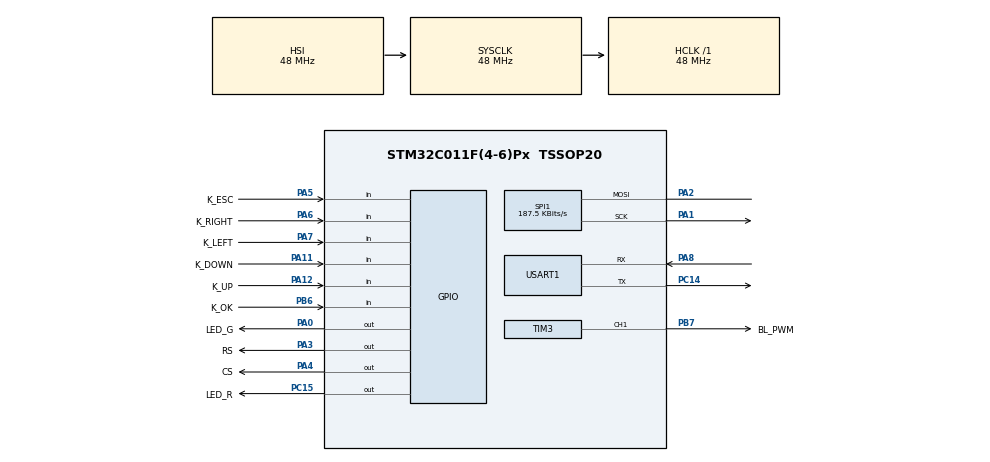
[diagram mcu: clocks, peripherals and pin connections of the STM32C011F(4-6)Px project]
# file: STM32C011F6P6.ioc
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Mcu.Family=STM32C0
Mcu.Name=STM32C011F(4-6)Px
Mcu.Package=TSSOP20
NVIC.TIM1_BRK_UP_TRG_COM_IRQn=true\:3\:0\:false\:false\:true\:false\:true\:true
NVIC.TimeBase=TIM1_BRK_UP_TRG_COM_IRQn
NVIC.TimeBaseIP=TIM1
NVIC.USART1_IRQn=true\:0\:0\:false\:false\:true\:true\:true\:true
PA0.GPIO_Label=LED_G
PA0.Signal=GPIO_Output
PA1.GPIO_Speed=GPIO_SPEED_FREQ_VERY_HIGH
PA1.Mode=Simplex_Bidirectional_Master
PA1.PinState=GPIO_PIN_SET
PA1.Signal=SPI1_SCK
PA11\ [PA9].GPIO_Label=K_DOWN
PA11\ [PA9].GPIO_PuPd=GPIO_PULLUP
PA11\ [PA9].Signal=GPIO_Input
PA12\ [PA10].GPIO_Label=K_UP
PA12\ [PA10].GPIO_PuPd=GPIO_PULLUP
PA12\ [PA10].Signal=GPIO_Input
PA13.Mode=Serial_Wire
PA13.Signal=DEBUG_SWDIO
PA14-BOOT0.Mode=Serial_Wire
PA14-BOOT0.Signal=DEBUG_SWCLK
PA2.GPIO_Speed=GPIO_SPEED_FREQ_VERY_HIGH
PA2.Mode=Simplex_Bidirectional_Master
PA2.PinState=GPIO_PIN_SET
PA2.Signal=SPI1_MOSI
PA3.GPIO_Label=RS
PA3.GPIO_Speed=GPIO_SPEED_FREQ_VERY_HIGH
PA3.PinState=GPIO_PIN_SET
PA3.Signal=GPIO_Output
PA4.GPIO_Label=CS
PA4.GPIO_Speed=GPIO_SPEED_FREQ_VERY_HIGH
PA4.PinState=GPIO_PIN_SET
PA4.Signal=GPIO_Output
PA5.GPIO_Label=K_ESC
PA5.GPIO_PuPd=GPIO_PULLUP
PA5.Signal=GPIO_Input
PA6.GPIO_Label=K_RIGHT
PA6.GPIO_PuPd=GPIO_PULLUP
PA6.Signal=GPIO_Input
PA7.GPIO_Label=K_LEFT
PA7.GPIO_PuPd=GPIO_PULLUP
PA7.Signal=GPIO_Input
PA8.Mode=Asynchronous
PA8.Signal=USART1_RX
PB6.GPIO_Label=K_OK
PB6.GPIO_PuPd=GPIO_PULLUP
PB6.Signal=GPIO_Input
PB7.GPIO_Label=BL_PWM
PB7.Signal=S_TIM3_CH1
PC14-OSCX_IN\ (PC14).Mode=Asynchronous
PC14-OSCX_IN\ (PC14).Signal=USART1_TX
PC15-OSCX_OUT\ (PC15).GPIO_Label=LED_R
PC15-OSCX_OUT\ (PC15).Signal=GPIO_Output
ProjectManager.HeapSize=0x200
ProjectManager.StackSize=0x400
ProjectManager.TargetToolchain=STM32CubeIDE
RCC.ADCFreq_Value=48000000
RCC.AHBFreq_Value=48000000
RCC.CortexFreq_Value=48000000
RCC.EXTERNAL_CLOCK_VALUE=12288000
RCC.HCLKFreq_Value=48000000
RCC.HSE_VALUE=8000000
RCC.HSISYSCLKDivider=RCC_HSI_DIV1
RCC.HSI_VALUE=48000000
RCC.LSE_VALUE=32768
RCC.SYSCLKFreq_VALUE=48000000
SH.S_TIM3_CH1.0=TIM3_CH1,PWM Generation1 CH1
SPI1.BaudRatePrescaler=SPI_BAUDRATEPRESCALER_256
SPI1.CLKPhase=SPI_PHASE_2EDGE
SPI1.CLKPolarity=SPI_POLARITY_HIGH
SPI1.CalculateBaudRate=187.5 KBits/s
SPI1.Direction=SPI_DIRECTION_1LINE
SPI1.Mode=SPI_MODE_MASTER
SPI1.VirtualType=VM_MASTER
TIM3.Channel-PWM\ Generation1\ CH1=TIM_CHANNEL_1
TIM3.Period=100-1
TIM3.Prescaler=4800-1
USART1.VirtualMode-Asynchronous=VM_ASYNC
VP_SYS_VS_tim1.Mode=TIM1
board=custom

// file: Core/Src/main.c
/* USER CODE BEGIN Header */
/**
  ******************************************************************************
  * @file           : main.c
  * @brief          : Main program body
  ******************************************************************************
  * @attention
  *
  * Copyright (c) 2023 STMicroelectronics.
  * All rights reserved.
  *
  * This software is licensed under terms that can be found in the LICENSE file
  * in the root directory of this software component.
  * If no LICENSE file comes with this software, it is provided AS-IS.
  *
  ******************************************************************************
  */
/* USER CODE END Header */
#include "main.h"

/* USER CODE BEGIN Includes */
#include "RW1063.h"
#include "ExHardware.h"
/* USER CODE END Includes */

/* USER CODE BEGIN PTD */
extern uint8_t pucByte;
extern int ReceiveCompleteFlag;
extern uint8_t TxIndex;
/* USER CODE END PTD */

/* USER CODE BEGIN PD */
uint8_t UR_MSG0[16]    ="BUTTON RIGHT    ";
uint8_t UR_MSG1[16]    ="BUTTON LEFT     ";
uint8_t UR_MSG2[16]    ="BUTTON DOWN     ";
uint8_t UR_MSG3[16]    ="BUTTON UP       ";
uint8_t UR_MSG4[16]    ="BUTTON OK       ";
uint8_t UR_MSG5[16]    ="BUTTON ESC      ";
/* USER CODE END PD */

/* USER CODE BEGIN PM */
sPhysicalButtonAttribute_t ButtonState[ 6 ];
/* USER CODE END PM */

SPI_HandleTypeDef hspi1;

TIM_HandleTypeDef htim3;

UART_HandleTypeDef huart1;

/* USER CODE BEGIN PV */
uint8_t data[ 255 ];
/* USER CODE END PV */

void SystemClock_Config(void);
static void MX_GPIO_Init(void);
static void MX_SPI1_Init(void);
static void MX_TIM3_Init(void);
static void MX_USART1_UART_Init(void);
/* USER CODE BEGIN PFP */
void ButtonSET_Init(void);
/* USER CODE END PFP */

/* USER CODE BEGIN 0 */
void ButtonSET_Init(void)
{
	ButtonState[0].Port = K_RIGHT_GPIO_Port;
	ButtonState[0].Pin = K_RIGHT_Pin;

	ButtonState[1].Port = K_LEFT_GPIO_Port;
	ButtonState[1].Pin = K_LEFT_Pin;

	ButtonState[2].Port = K_DOWN_GPIO_Port;
	ButtonState[2].Pin = K_DOWN_Pin;

	ButtonState[3].Port = K_UP_GPIO_Port;
	ButtonState[3].Pin = K_UP_Pin;

	ButtonState[4].Port = K_OK_GPIO_Port;
	ButtonState[4].Pin = K_OK_Pin;

	ButtonState[5].Port = K_ESC_GPIO_Port;
	ButtonState[5].Pin = K_ESC_Pin;

}
/* USER CODE END 0 */

int main(void)
{

  /* MCU Configuration--------------------------------------------------------*/

  /* Reset of all peripherals, Initializes the Flash interface and the Systick. */
  HAL_Init();

  /* Configure the system clock */
  SystemClock_Config();

  /* Initialize all configured peripherals */
  MX_GPIO_Init();
  MX_SPI1_Init();
  MX_TIM3_Init();
  MX_USART1_UART_Init();
  /* USER CODE BEGIN 2 */

//  HAL_TIM_PWM_Start( &htim3, TIM_CHANNEL_1 );

  HAL_UART_Receive_IT(&huart1, &pucByte, 1);

  RW1063_init( &hspi1,
				CS_GPIO_Port, CS_Pin,
				RS_GPIO_Port, RS_Pin );

  Backlight_Control( BL_ON );
  Set_Backlight_Duty( 100 );

  ButtonSET_Init();
  /* USER CODE END 2 */

  /* Infinite loop */
  /* USER CODE BEGIN WHILE */
  while (1)
  {
		if(ReceiveCompleteFlag == 1)
		{
		  RW1063_WrCmd(0x08);//Display off
		  HAL_Delay(1);
		  RW1063_WrCmd(0x06);//Entry mode set
		  HAL_Delay(10);
		  RW1063_WrCmd(0x01);//CLEAR DISPLAY
		  HAL_Delay(1);
		  RW1063_WrCmd(0x0C);//DISPLAY ON,Cursor OFF,Cursor Blink OFF
		  RW1063_WrCmd(LINE_ONE);
		  RW1063_writeString(TxIndex-1,&data[0]);
		  ReceiveCompleteFlag = 0;
		  TxIndex = 0;
		  memset(data, 0, 256);
		}

//		if( HAL_GPIO_ReadPin( K_UP_Pin, K_UP_GPIO_Port ) == GPIO_PIN_RESET )
//		{
//								  RW1063_WrCmd(0x01);//CLEAR DISPLAY
//								  HAL_Delay(1);
//								  RW1063_WrCmd(LINE_ONE);
//								  RW1063_writeString(16,UR_MSG3);
//		}

		for( uint8_t counter = 0 ; counter <= 5 ; counter++ )
		{
			if( HAL_GPIO_ReadPin( ButtonState[counter].Port, ButtonState[counter].Pin ) == GPIO_PIN_RESET )
			{
				if(counter == 0)
				{
					  RW1063_WrCmd(0x01);//CLEAR DISPLAY
					  HAL_Delay(1);
					  RW1063_WrCmd(LINE_ONE);
					  RW1063_writeString(16,UR_MSG0);
				}
				else if(counter == 1)
				{
					  RW1063_WrCmd(0x01);//CLEAR DISPLAY
					  HAL_Delay(1);
					  RW1063_WrCmd(LINE_ONE);
					  RW1063_writeString(16,UR_MSG1);
				}
				else if(counter == 2)
				{
					  RW1063_WrCmd(0x01);//CLEAR DISPLAY
					  HAL_Delay(1);
					  RW1063_WrCmd(LINE_ONE);
					  RW1063_writeString(16,UR_MSG2);
				}
				else if(counter == 3)
				{
					  RW1063_WrCmd(0x01);//CLEAR DISPLAY
					  HAL_Delay(1);
					  RW1063_WrCmd(LINE_ONE);
					  RW1063_writeString(16,UR_MSG3);
				}
				else if(counter == 4)
				{
					  RW1063_WrCmd(0x01);//CLEAR DISPLAY
					  HAL_Delay(1);
					  RW1063_WrCmd(LINE_ONE);
					  RW1063_writeString(16,UR_MSG4);
				}
				else if(counter == 5)
				{
					  RW1063_WrCmd(0x01);//CLEAR DISPLAY
					  HAL_Delay(1);
					  RW1063_WrCmd(LINE_ONE);
					  RW1063_writeString(16,UR_MSG5);
				}
			}
		}

    /* USER CODE END WHILE */

  }
}

void SystemClock_Config(void)
{
  RCC_OscInitTypeDef RCC_OscInitStruct = {0};
  RCC_ClkInitTypeDef RCC_ClkInitStruct = {0};

  /** Initializes the RCC Oscillators according to the specified parameters
  * in the RCC_OscInitTypeDef structure.
  */
  RCC_OscInitStruct.OscillatorType = RCC_OSCILLATORTYPE_HSI;
  RCC_OscInitStruct.HSIState = RCC_HSI_ON;
  RCC_OscInitStruct.HSIDiv = RCC_HSI_DIV1;
  RCC_OscInitStruct.HSICalibrationValue = RCC_HSICALIBRATION_DEFAULT;
  if (HAL_RCC_OscConfig(&RCC_OscInitStruct) != HAL_OK)
  {
    Error_Handler();
  }

  /** Initializes the CPU, AHB and APB buses clocks
  */
  RCC_ClkInitStruct.ClockType = RCC_CLOCKTYPE_HCLK|RCC_CLOCKTYPE_SYSCLK
                              |RCC_CLOCKTYPE_PCLK1;
  RCC_ClkInitStruct.SYSCLKSource = RCC_SYSCLKSOURCE_HSI;
  RCC_ClkInitStruct.SYSCLKDivider = RCC_SYSCLK_DIV1;
  RCC_ClkInitStruct.AHBCLKDivider = RCC_HCLK_DIV1;
  RCC_ClkInitStruct.APB1CLKDivider = RCC_APB1_DIV1;

  if (HAL_RCC_ClockConfig(&RCC_ClkInitStruct, FLASH_LATENCY_1) != HAL_OK)
  {
    Error_Handler();
  }
}

static void MX_SPI1_Init(void)
{

  /* SPI1 parameter configuration*/
  hspi1.Instance = SPI1;
  hspi1.Init.Mode = SPI_MODE_MASTER;
  hspi1.Init.Direction = SPI_DIRECTION_1LINE;
  hspi1.Init.DataSize = SPI_DATASIZE_8BIT;
  hspi1.Init.CLKPolarity = SPI_POLARITY_HIGH;
  hspi1.Init.CLKPhase = SPI_PHASE_2EDGE;
  hspi1.Init.NSS = SPI_NSS_SOFT;
  hspi1.Init.BaudRatePrescaler = SPI_BAUDRATEPRESCALER_256;
  hspi1.Init.FirstBit = SPI_FIRSTBIT_MSB;
  hspi1.Init.TIMode = SPI_TIMODE_DISABLE;
  hspi1.Init.CRCCalculation = SPI_CRCCALCULATION_DISABLE;
  hspi1.Init.CRCPolynomial = 7;
  hspi1.Init.CRCLength = SPI_CRC_LENGTH_DATASIZE;
  hspi1.Init.NSSPMode = SPI_NSS_PULSE_DISABLE;
  if (HAL_SPI_Init(&hspi1) != HAL_OK)
  {
    Error_Handler();
  }

}

static void MX_TIM3_Init(void)
{

  TIM_MasterConfigTypeDef sMasterConfig = {0};
  TIM_OC_InitTypeDef sConfigOC = {0};

  htim3.Instance = TIM3;
  htim3.Init.Prescaler = 4800-1;
  htim3.Init.CounterMode = TIM_COUNTERMODE_UP;
  htim3.Init.Period = 100-1;
  htim3.Init.ClockDivision = TIM_CLOCKDIVISION_DIV1;
  htim3.Init.AutoReloadPreload = TIM_AUTORELOAD_PRELOAD_DISABLE;
  if (HAL_TIM_PWM_Init(&htim3) != HAL_OK)
  {
    Error_Handler();
  }
  sMasterConfig.MasterOutputTrigger = TIM_TRGO_RESET;
  sMasterConfig.MasterSlaveMode = TIM_MASTERSLAVEMODE_DISABLE;
  if (HAL_TIMEx_MasterConfigSynchronization(&htim3, &sMasterConfig) != HAL_OK)
  {
    Error_Handler();
  }
  sConfigOC.OCMode = TIM_OCMODE_PWM1;
  sConfigOC.Pulse = 0;
  sConfigOC.OCPolarity = TIM_OCPOLARITY_HIGH;
  sConfigOC.OCFastMode = TIM_OCFAST_DISABLE;
  if (HAL_TIM_PWM_ConfigChannel(&htim3, &sConfigOC, TIM_CHANNEL_1) != HAL_OK)
  {
    Error_Handler();
  }
  HAL_TIM_MspPostInit(&htim3);

}

static void MX_USART1_UART_Init(void)
{

  huart1.Instance = USART1;
  huart1.Init.BaudRate = 115200;
  huart1.Init.WordLength = UART_WORDLENGTH_8B;
  huart1.Init.StopBits = UART_STOPBITS_1;
  huart1.Init.Parity = UART_PARITY_NONE;
  huart1.Init.Mode = UART_MODE_TX_RX;
  huart1.Init.HwFlowCtl = UART_HWCONTROL_NONE;
  huart1.Init.OverSampling = UART_OVERSAMPLING_16;
  huart1.Init.OneBitSampling = UART_ONE_BIT_SAMPLE_DISABLE;
  huart1.Init.ClockPrescaler = UART_PRESCALER_DIV1;
  huart1.AdvancedInit.AdvFeatureInit = UART_ADVFEATURE_NO_INIT;
  if (HAL_UART_Init(&huart1) != HAL_OK)
  {
    Error_Handler();
  }
  if (HAL_UARTEx_SetTxFifoThreshold(&huart1, UART_TXFIFO_THRESHOLD_1_8) != HAL_OK)
  {
    Error_Handler();
  }
  if (HAL_UARTEx_SetRxFifoThreshold(&huart1, UART_RXFIFO_THRESHOLD_1_8) != HAL_OK)
  {
    Error_Handler();
  }
  if (HAL_UARTEx_DisableFifoMode(&huart1) != HAL_OK)
  {
    Error_Handler();
  }
  /* USER CODE BEGIN USART1_Init 2 */
  __HAL_UART_FLUSH_DRREGISTER(&huart1);
  /* USER CODE END USART1_Init 2 */

}

static void MX_GPIO_Init(void)
{
  GPIO_InitTypeDef GPIO_InitStruct = {0};

  /* GPIO Ports Clock Enable */
  __HAL_RCC_GPIOB_CLK_ENABLE();
  __HAL_RCC_GPIOC_CLK_ENABLE();
  __HAL_RCC_GPIOA_CLK_ENABLE();

  /*Configure GPIO pin Output Level */
  HAL_GPIO_WritePin(LED_R_GPIO_Port, LED_R_Pin, GPIO_PIN_RESET);

  /*Configure GPIO pin Output Level */
  HAL_GPIO_WritePin(LED_G_GPIO_Port, LED_G_Pin, GPIO_PIN_RESET);

  /*Configure GPIO pin Output Level */
  HAL_GPIO_WritePin(GPIOA, RS_Pin|CS_Pin, GPIO_PIN_SET);

  /*Configure GPIO pin : LED_R_Pin */
  GPIO_InitStruct.Pin = LED_R_Pin;
  GPIO_InitStruct.Mode = GPIO_MODE_OUTPUT_PP;
  GPIO_InitStruct.Pull = GPIO_NOPULL;
  GPIO_InitStruct.Speed = GPIO_SPEED_FREQ_LOW;
  HAL_GPIO_Init(LED_R_GPIO_Port, &GPIO_InitStruct);

  /*Configure GPIO pin : LED_G_Pin */
  GPIO_InitStruct.Pin = LED_G_Pin;
  GPIO_InitStruct.Mode = GPIO_MODE_OUTPUT_PP;
  GPIO_InitStruct.Pull = GPIO_NOPULL;
  GPIO_InitStruct.Speed = GPIO_SPEED_FREQ_LOW;
  HAL_GPIO_Init(LED_G_GPIO_Port, &GPIO_InitStruct);

  /*Configure GPIO pins : RS_Pin CS_Pin */
  GPIO_InitStruct.Pin = RS_Pin|CS_Pin;
  GPIO_InitStruct.Mode = GPIO_MODE_OUTPUT_PP;
  GPIO_InitStruct.Pull = GPIO_NOPULL;
  GPIO_InitStruct.Speed = GPIO_SPEED_FREQ_VERY_HIGH;
  HAL_GPIO_Init(GPIOA, &GPIO_InitStruct);

  /*Configure GPIO pins : K_ESC_Pin K_RIGHT_Pin K_LEFT_Pin K_DOWN_Pin
                           K_UP_Pin */
  GPIO_InitStruct.Pin = K_ESC_Pin|K_RIGHT_Pin|K_LEFT_Pin|K_DOWN_Pin
                          |K_UP_Pin;
  GPIO_InitStruct.Mode = GPIO_MODE_INPUT;
  GPIO_InitStruct.Pull = GPIO_PULLUP;
  HAL_GPIO_Init(GPIOA, &GPIO_InitStruct);

  /*Configure GPIO pin : K_OK_Pin */
  GPIO_InitStruct.Pin = K_OK_Pin;
  GPIO_InitStruct.Mode = GPIO_MODE_INPUT;
  GPIO_InitStruct.Pull = GPIO_PULLUP;
  HAL_GPIO_Init(K_OK_GPIO_Port, &GPIO_InitStruct);

}

void HAL_TIM_PeriodElapsedCallback(TIM_HandleTypeDef *htim)
{
  if (htim->Instance == TIM1) {
    HAL_IncTick();
  }
}

void Error_Handler(void)
{
  __disable_irq();
  while (1)
  {
  }
}
